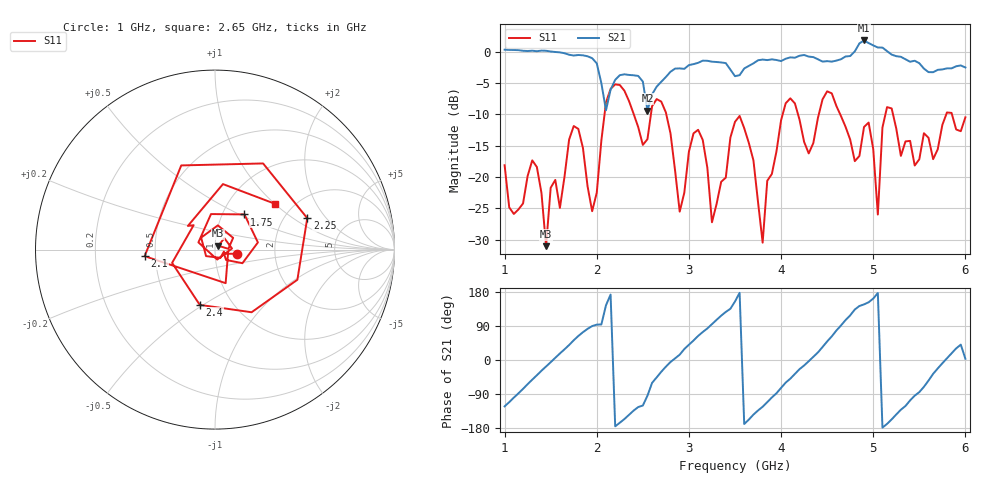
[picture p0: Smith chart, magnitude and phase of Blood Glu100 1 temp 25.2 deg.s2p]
! NanoVNA-App
! Date: 2024-03-20 22:47:13
! Start: 1GHz Stop: 6GHz Points: 101
! S-Parameter data: F S11 S21 S12 S22
# Hz S RI R 50
!	Frequency	S11_Real	S11_Imag	S21_Real	S21_Imag	S12_Real	S12_Imag	S22_Real	S22_Imag
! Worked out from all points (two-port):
!   101 points, 1 GHz to 6 GHz, reference 50 ohm
!   highest |S21| = 1.81 dB at 4.9 GHz (marker M1); lowest = -9.4 dB at 2.55 GHz (marker M2)
!   |S21| within 3 dB of the highest: start of sweep to 1.96 GHz; 4.649 GHz to 5.349 GHz (699.9 MHz wide, 14 % of centre)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
!   lowest |S11| = -31.0 dB at 1.45 GHz (marker M3), VSWR 1.06, Z = 51.8 + j2.22 ohm
!   |S11| at or under -10 dB: start of sweep to 2.084 GHz; 2.755 GHz to 4.017 GHz (1.262 GHz wide, 37.3 % of centre); 5.215 GHz to 5.792 GHz (577.2 MHz wide, 10.5 % of centre)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
!   S12 and S22 are empty: the file has one direction only
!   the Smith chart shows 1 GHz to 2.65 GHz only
!   S11 on the Smith chart (normalised r, x): 1 GHz: 1.28, -0.06; 1.75 GHz: 1.27, +0.53; 2.1 GHz: 0.44, -0.04; 2.25 GHz: 2.64, +1.31; 2.4 GHz: 0.71, -0.48; 2.65 GHz: 1.61, +1.00
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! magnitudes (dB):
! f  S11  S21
! 1 GHz  -18.1  0.3
! 1.45 GHz  -31.0  0.2
! 1.75 GHz  -11.9  -0.6
! 1.85 GHz  -15.4  -0.6
! 1.95 GHz  -25.4  -1.0
! 2.1 GHz  -8.1  -9.3
! 2.25 GHz  -5.3  -3.7
! 2.4 GHz  -9.9  -3.8
! 2.55 GHz  -14.0  -9.4
! 2.65 GHz  -7.6  -5.6
! 2.7 GHz  -8.0  -4.8
! 2.9 GHz  -25.5  -2.6
! 3.1 GHz  -12.5  -1.8
! 3.25 GHz  -27.2  -1.6
! 3.5 GHz  -11.2  -3.9
! 3.8 GHz  -30.5  -1.2
! 4.05 GHz  -8.2  -1.1
! 4.35 GHz  -14.6  -0.8
! 4.9 GHz  -12.0  1.8
! 5.05 GHz  -26.0  0.7
! 5.2 GHz  -9.0  -0.4
! 6 GHz  -10.5  -2.5
